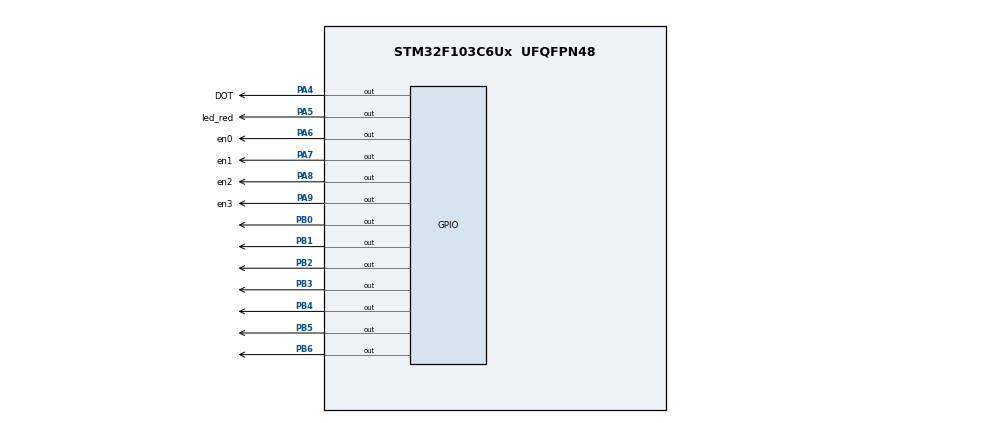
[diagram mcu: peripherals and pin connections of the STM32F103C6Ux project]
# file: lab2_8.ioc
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Mcu.Family=STM32F1
Mcu.Name=STM32F103C6Ux
Mcu.Package=UFQFPN48
NVIC.PriorityGroup=NVIC_PRIORITYGROUP_4
NVIC.TIM2_IRQn=true\:0\:0\:false\:false\:true\:true\:true
PA4.GPIO_Label=DOT
PA4.Signal=GPIO_Output
PA5.GPIO_Label=led_red
PA5.Signal=GPIO_Output
PA6.GPIO_Label=en0
PA6.Signal=GPIO_Output
PA7.GPIO_Label=en1
PA7.Signal=GPIO_Output
PA8.GPIO_Label=en2
PA8.Signal=GPIO_Output
PA9.GPIO_Label=en3
PA9.Signal=GPIO_Output
PB0.Signal=GPIO_Output
PB1.Signal=GPIO_Output
PB2.Signal=GPIO_Output
PB3.Signal=GPIO_Output
PB4.Signal=GPIO_Output
PB5.Signal=GPIO_Output
PB6.Signal=GPIO_Output
ProjectManager.HeapSize=0x200
ProjectManager.StackSize=0x400
ProjectManager.TargetToolchain=STM32CubeIDE
RCC.APB1Freq_Value=8000000
RCC.APB2Freq_Value=8000000
TIM2.Period=9
TIM2.Prescaler=7999
VP_SYS_VS_ND.Mode=No_Debug
VP_TIM2_VS_ClockSourceINT.Mode=Internal
board=custom

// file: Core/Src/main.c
/* USER CODE BEGIN Header */
/**
  ******************************************************************************
  * @file           : main.c
  * @brief          : Main program body
  ******************************************************************************
  * @attention
  *
  * <h2><center>&copy; Copyright (c) 2024 STMicroelectronics.
  * All rights reserved.</center></h2>
  *
  * This software component is licensed by ST under BSD 3-Clause license,
  * the "License"; You may not use this file except in compliance with the
  * License. You may obtain a copy of the License at:
  *                        opensource.org/licenses/BSD-3-Clause
  *
  ******************************************************************************
  */
/* USER CODE END Header */
#include "main.h"

/* USER CODE BEGIN Includes */
#include "software_timer.h"
/* USER CODE END Includes */

TIM_HandleTypeDef htim2;

void SystemClock_Config(void);
static void MX_GPIO_Init(void);
static void MX_TIM2_Init(void);

/* USER CODE BEGIN 0 */
void display7SEG(int num)
{
  uint32_t code[10] = {64, 121, 36, 48, 25, 18, 2, 120, 0, 16};
  GPIOB->ODR = code[num];
}

const int MAX_LED = 4;
int index_led = 0;
int led_buffer[4] = {1, 2, 3, 4};
void update7SEG(int index) {
    switch (index) {
    case 0: {
    	display7SEG(led_buffer[0]);
    	HAL_GPIO_WritePin(GPIOA, en0_Pin, 0);
    	HAL_GPIO_WritePin(GPIOA, en1_Pin | en2_Pin | en3_Pin, 1);
        break;
    } case 1: {
    	display7SEG(led_buffer[1]);
    	HAL_GPIO_WritePin(GPIOA, en1_Pin, 0);
    	HAL_GPIO_WritePin(GPIOA, en0_Pin | en2_Pin | en3_Pin, 1);
        break;
    } case 2: {
    	display7SEG(led_buffer[2]);
    	HAL_GPIO_WritePin(GPIOA, en2_Pin, 0);
    	HAL_GPIO_WritePin(GPIOA, en0_Pin | en1_Pin | en3_Pin, 1);
        break;
    } case 3: {
    	display7SEG(led_buffer[3]);
    	HAL_GPIO_WritePin(GPIOA, en3_Pin, 0);
    	HAL_GPIO_WritePin(GPIOA, en0_Pin | en1_Pin | en2_Pin, 1);
        break;
    } default:
        break;
    }
}

void updateClockBuffer(int hour, int minute)
{
  led_buffer[0] = hour / 10;
  led_buffer[1] = hour % 10;
  led_buffer[2] = minute / 10;
  led_buffer[3] = minute % 10;
}
/* USER CODE END 0 */

int main(void)
{

  /* MCU Configuration--------------------------------------------------------*/

  /* Reset of all peripherals, Initializes the Flash interface and the Systick. */
  HAL_Init();

  /* Configure the system clock */
  SystemClock_Config();

  /* Initialize all configured peripherals */
  MX_GPIO_Init();
  MX_TIM2_Init();
  /* USER CODE BEGIN 2 */
  HAL_TIM_Base_Start_IT(&htim2);
  /* USER CODE END 2 */

  /* Infinite loop */
  /* USER CODE BEGIN WHILE */
  update7SEG(index_led);
  setTimer1(1000);
  setTimer2(250);
  int hour = 15, minute = 8, second = 57;
  while (1) {
        if (timer1_flag == 1) {
          second++;
          if (second >= 60) {
            second = 0;
            minute++;
          }
          if (minute >= 60) {
            minute = 0;
            hour++;
          }
          if (hour >= 24) {
            hour = 0;
          }
          updateClockBuffer(hour, minute);
          HAL_GPIO_TogglePin(GPIOA, DOT_Pin);
          setTimer1(1000);
        }

        if (timer2_flag == 1) {
          index_led = (index_led + 1) % MAX_LED;
          update7SEG(index_led);
          setTimer2(250);
        }
        /* USER CODE END WHILE */
  }
}

void SystemClock_Config(void)
{
  RCC_OscInitTypeDef RCC_OscInitStruct = {0};
  RCC_ClkInitTypeDef RCC_ClkInitStruct = {0};

  /** Initializes the RCC Oscillators according to the specified parameters
  * in the RCC_OscInitTypeDef structure.
  */
  RCC_OscInitStruct.OscillatorType = RCC_OSCILLATORTYPE_HSI;
  RCC_OscInitStruct.HSIState = RCC_HSI_ON;
  RCC_OscInitStruct.HSICalibrationValue = RCC_HSICALIBRATION_DEFAULT;
  RCC_OscInitStruct.PLL.PLLState = RCC_PLL_NONE;
  if (HAL_RCC_OscConfig(&RCC_OscInitStruct) != HAL_OK)
  {
    Error_Handler();
  }
  /** Initializes the CPU, AHB and APB buses clocks
  */
  RCC_ClkInitStruct.ClockType = RCC_CLOCKTYPE_HCLK|RCC_CLOCKTYPE_SYSCLK
                              |RCC_CLOCKTYPE_PCLK1|RCC_CLOCKTYPE_PCLK2;
  RCC_ClkInitStruct.SYSCLKSource = RCC_SYSCLKSOURCE_HSI;
  RCC_ClkInitStruct.AHBCLKDivider = RCC_SYSCLK_DIV1;
  RCC_ClkInitStruct.APB1CLKDivider = RCC_HCLK_DIV1;
  RCC_ClkInitStruct.APB2CLKDivider = RCC_HCLK_DIV1;

  if (HAL_RCC_ClockConfig(&RCC_ClkInitStruct, FLASH_LATENCY_0) != HAL_OK)
  {
    Error_Handler();
  }
}

static void MX_TIM2_Init(void)
{

  TIM_ClockConfigTypeDef sClockSourceConfig = {0};
  TIM_MasterConfigTypeDef sMasterConfig = {0};

  htim2.Instance = TIM2;
  htim2.Init.Prescaler = 7999;
  htim2.Init.CounterMode = TIM_COUNTERMODE_UP;
  htim2.Init.Period = 9;
  htim2.Init.ClockDivision = TIM_CLOCKDIVISION_DIV1;
  htim2.Init.AutoReloadPreload = TIM_AUTORELOAD_PRELOAD_DISABLE;
  if (HAL_TIM_Base_Init(&htim2) != HAL_OK)
  {
    Error_Handler();
  }
  sClockSourceConfig.ClockSource = TIM_CLOCKSOURCE_INTERNAL;
  if (HAL_TIM_ConfigClockSource(&htim2, &sClockSourceConfig) != HAL_OK)
  {
    Error_Handler();
  }
  sMasterConfig.MasterOutputTrigger = TIM_TRGO_RESET;
  sMasterConfig.MasterSlaveMode = TIM_MASTERSLAVEMODE_DISABLE;
  if (HAL_TIMEx_MasterConfigSynchronization(&htim2, &sMasterConfig) != HAL_OK)
  {
    Error_Handler();
  }

}

static void MX_GPIO_Init(void)
{
  GPIO_InitTypeDef GPIO_InitStruct = {0};

  /* GPIO Ports Clock Enable */
  __HAL_RCC_GPIOA_CLK_ENABLE();
  __HAL_RCC_GPIOB_CLK_ENABLE();

  /*Configure GPIO pin Output Level */
  HAL_GPIO_WritePin(GPIOA, DOT_Pin|led_red_Pin|en0_Pin|en1_Pin
                          |en2_Pin|en3_Pin, GPIO_PIN_RESET);

  /*Configure GPIO pin Output Level */
  HAL_GPIO_WritePin(GPIOB, GPIO_PIN_0|GPIO_PIN_1|GPIO_PIN_2|GPIO_PIN_3
                          |GPIO_PIN_4|GPIO_PIN_5|GPIO_PIN_6, GPIO_PIN_RESET);

  /*Configure GPIO pins : DOT_Pin led_red_Pin en0_Pin en1_Pin
                           en2_Pin en3_Pin */
  GPIO_InitStruct.Pin = DOT_Pin|led_red_Pin|en0_Pin|en1_Pin
                          |en2_Pin|en3_Pin;
  GPIO_InitStruct.Mode = GPIO_MODE_OUTPUT_PP;
  GPIO_InitStruct.Pull = GPIO_NOPULL;
  GPIO_InitStruct.Speed = GPIO_SPEED_FREQ_LOW;
  HAL_GPIO_Init(GPIOA, &GPIO_InitStruct);

  /*Configure GPIO pins : PB0 PB1 PB2 PB3
                           PB4 PB5 PB6 */
  GPIO_InitStruct.Pin = GPIO_PIN_0|GPIO_PIN_1|GPIO_PIN_2|GPIO_PIN_3
                          |GPIO_PIN_4|GPIO_PIN_5|GPIO_PIN_6;
  GPIO_InitStruct.Mode = GPIO_MODE_OUTPUT_PP;
  GPIO_InitStruct.Pull = GPIO_NOPULL;
  GPIO_InitStruct.Speed = GPIO_SPEED_FREQ_LOW;
  HAL_GPIO_Init(GPIOB, &GPIO_InitStruct);

}

/* USER CODE BEGIN 4 */
void HAL_TIM_PeriodElapsedCallback(TIM_HandleTypeDef *htim) {
    timerRun();
}
/* USER CODE END 4 */

void Error_Handler(void)
{
  __disable_irq();
  while (1)
  {
  }
}

/************************ (C) COPYRIGHT STMicroelectronics *****END OF FILE****/
